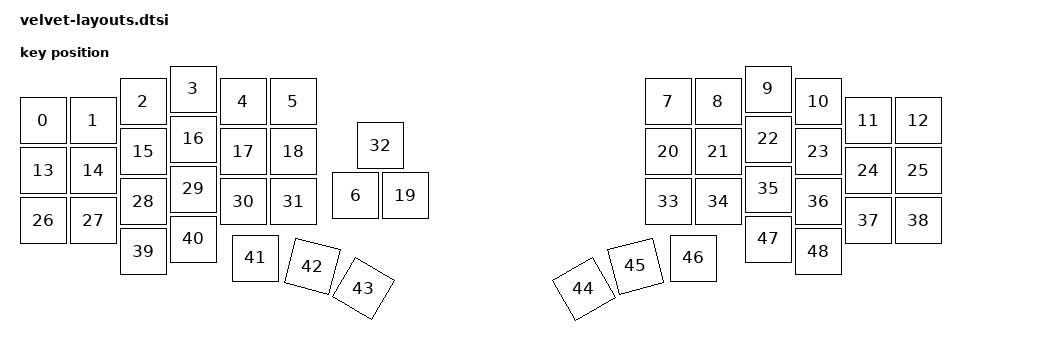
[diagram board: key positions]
#include <physical_layouts.dtsi>

/ {
    velvet_layout: velvet_layout {
        compatible = "zmk,physical-layout";
        display-name = "Layout";
        transform = <&default_transform>;

        keys  //                     w   h    x    y     rot    rx    ry
            = <&key_physical_attrs 100 100    0   83       0     0     0>
            , <&key_physical_attrs 100 100  100   83       0     0     0>
            , <&key_physical_attrs 100 100  200   45       0     0     0>
            , <&key_physical_attrs 100 100  300   20       0     0     0>
            , <&key_physical_attrs 100 100  400   45       0     0     0>
            , <&key_physical_attrs 100 100  500   45       0     0     0>
            , <&key_physical_attrs 100 100  625  233       0     0     0>
            , <&key_physical_attrs 100 100 1250   45       0     0     0>
            , <&key_physical_attrs 100 100 1350   45       0     0     0>
            , <&key_physical_attrs 100 100 1450   20       0     0     0>
            , <&key_physical_attrs 100 100 1550   45       0     0     0>
            , <&key_physical_attrs 100 100 1650   83       0     0     0>
            , <&key_physical_attrs 100 100 1750   83       0     0     0>
            , <&key_physical_attrs 100 100    0  183       0     0     0>
            , <&key_physical_attrs 100 100  100  183       0     0     0>
            , <&key_physical_attrs 100 100  200  145       0     0     0>
            , <&key_physical_attrs 100 100  300  120       0     0     0>
            , <&key_physical_attrs 100 100  400  145       0     0     0>
            , <&key_physical_attrs 100 100  500  145       0     0     0>
            , <&key_physical_attrs 100 100  725  233       0     0     0>
            , <&key_physical_attrs 100 100 1250  145       0     0     0>
            , <&key_physical_attrs 100 100 1350  145       0     0     0>
            , <&key_physical_attrs 100 100 1450  120       0     0     0>
            , <&key_physical_attrs 100 100 1550  145       0     0     0>
            , <&key_physical_attrs 100 100 1650  183       0     0     0>
            , <&key_physical_attrs 100 100 1750  183       0     0     0>
            , <&key_physical_attrs 100 100    0  283       0     0     0>
            , <&key_physical_attrs 100 100  100  283       0     0     0>
            , <&key_physical_attrs 100 100  200  245       0     0     0>
            , <&key_physical_attrs 100 100  300  220       0     0     0>
            , <&key_physical_attrs 100 100  400  245       0     0     0>
            , <&key_physical_attrs 100 100  500  245       0     0     0>
            , <&key_physical_attrs 100 100  675  133       0     0     0>
            , <&key_physical_attrs 100 100 1250  245       0     0     0>
            , <&key_physical_attrs 100 100 1350  245       0     0     0>
            , <&key_physical_attrs 100 100 1450  220       0     0     0>
            , <&key_physical_attrs 100 100 1550  245       0     0     0>
            , <&key_physical_attrs 100 100 1650  283       0     0     0>
            , <&key_physical_attrs 100 100 1750  283       0     0     0>
            , <&key_physical_attrs 100 100  200  345       0     0     0>
            , <&key_physical_attrs 100 100  300  320       0     0     0>
            , <&key_physical_attrs 100 100  425  358       0     0     0>
            , <&key_physical_attrs 100 100  649  205    1500     0 (-80)>
            , <&key_physical_attrs 100 100  823    0    3000     0 (-80)>
            , <&key_physical_attrs 100 100  655  912 (-3000)     0 (-80)>
            , <&key_physical_attrs 100 100 1013  677 (-1500)     0 (-80)>
            , <&key_physical_attrs 100 100 1300  358       0     0     0>
            , <&key_physical_attrs 100 100 1450  320       0     0     0>
            , <&key_physical_attrs 100 100 1550  345       0     0     0>
            ;
    };
};
